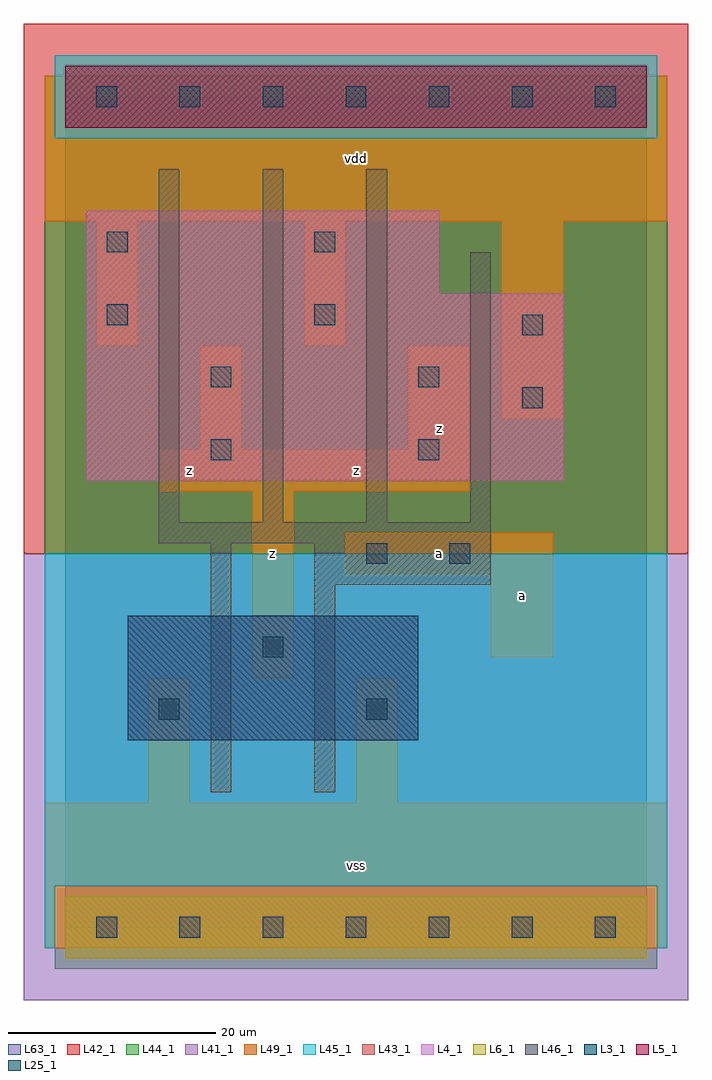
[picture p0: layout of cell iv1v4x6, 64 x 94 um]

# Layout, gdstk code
import gdstk
lib = gdstk.Library(unit=1e-6, precision=1e-09)
def R(c, l, rs):  # rectangles x0, y0, x1, y1
    for r in rs: c.add(gdstk.rectangle(r[:2], r[2:], *l))
def A(c, l, x, y, w, h, nx, ny, dx, dy):  # array of equal rectangles
    R(c, l, [(x+i*dx, y+j*dy, x+i*dx+w, y+j*dy+h) for i in range(nx) for j in range(ny)])
L3_1 = (3, 1)
L4_1 = (4, 1)
L5_1 = (5, 1)
L6_1 = (6, 1)
L25_1 = (25, 1)
L41_1 = (41, 1)
L42_1 = (42, 1)
L43_1 = (43, 1)
L44_1 = (44, 1)
L45_1 = (45, 1)
L46_1 = (46, 1)
L49_1 = (49, 1)
L63_1 = (63, 1)

iv1v4x6 = lib.new_cell('iv1v4x6')
R(iv1v4x6, L3_1, [(6,18,34,30)])
R(iv1v4x6, L4_1, [(2,43,48,61), (2,61,36,69)])
R(iv1v4x6, L5_1, [(0,77,56,83)])
R(iv1v4x6, L6_1, [(0,-3,56,3), (0,-3,56,3)])
A(iv1v4x6, L25_1, 3, -1, 2, 2, 7, 2, 8, 80)
R(iv1v4x6, L25_1, [(9,20,11,22), (29,20,31,22), (19,26,21,28), (29,35,31,37), (37,35,39,37), (14,45,16,47), (34,45,36,47), (44,50,46,52), (14,52,16,54), (34,52,36,54), (44,57,46,59), (4,58,6,60), (24,58,26,60), (4,65,6,67), (24,65,26,67)])
R(iv1v4x6, L41_1, [(-4,-7,60,36)])
R(iv1v4x6, L42_1, [(-4,36,60,87)])
R(iv1v4x6, L43_1, [(0,-3,56,3), (6,18,34,30), (2,43,48,61), (2,61,36,69), (0,77,56,83)])
R(iv1v4x6, L44_1, [(-1,-4,57,4), (-2,36,58,76), (-2,76,-1,82), (57,76,58,82)])
R(iv1v4x6, L45_1, [(-2,-2,-1,4), (57,-2,58,4), (-2,4,58,36), (-1,76,57,84)])
A(iv1v4x6, L46_1, 9, 39, 2, 34, 3, 1, 10, 0)
R(iv1v4x6, L46_1, [(14,13,16,37), (24,13,26,33), (24,33,41,37), (9,37,41,39), (39,39,41,65)])
R(iv1v4x6, L49_1, [(-2,-2,58,12), (8,12,12,24), (28,12,32,24), (18,24,22,42), (41,26,47,34), (27,34,47,38), (9,42,39,46), (13,46,17,56), (33,46,39,56), (42,49,48,68), (3,56,7,68), (23,56,27,68), (-2,68,58,82)])
R(iv1v4x6, L63_1, [(0,0,56,80)])
iv1v4x6.add(gdstk.Label('z', (20,36), layer=49, texttype=1))
iv1v4x6.add(gdstk.Label('z', (12,44), layer=49, texttype=1))
iv1v4x6.add(gdstk.Label('vss', (28,6), layer=49, texttype=1))
iv1v4x6.add(gdstk.Label('a', (36,36), layer=49, texttype=1))
iv1v4x6.add(gdstk.Label('z', (28,44), layer=49, texttype=1))
iv1v4x6.add(gdstk.Label('z', (36,48), layer=49, texttype=1))
iv1v4x6.add(gdstk.Label('vdd', (28,74), layer=49, texttype=1))
iv1v4x6.add(gdstk.Label('a', (44,32), layer=49, texttype=1))

lib.write_gds('iv1v4x6.gds')
